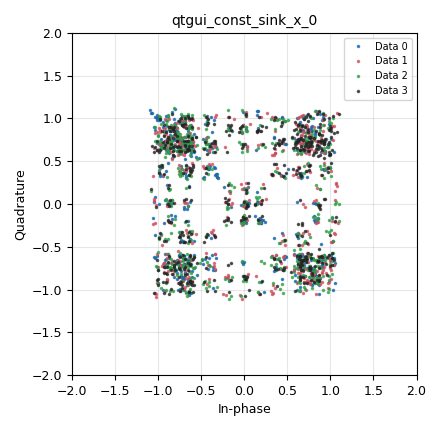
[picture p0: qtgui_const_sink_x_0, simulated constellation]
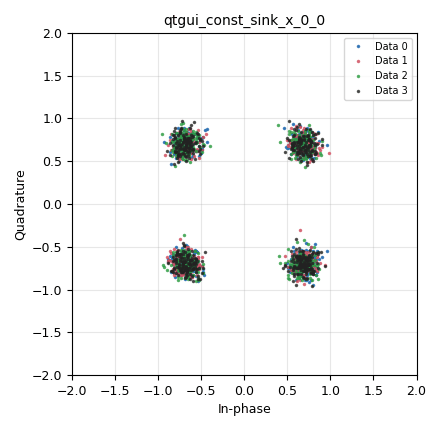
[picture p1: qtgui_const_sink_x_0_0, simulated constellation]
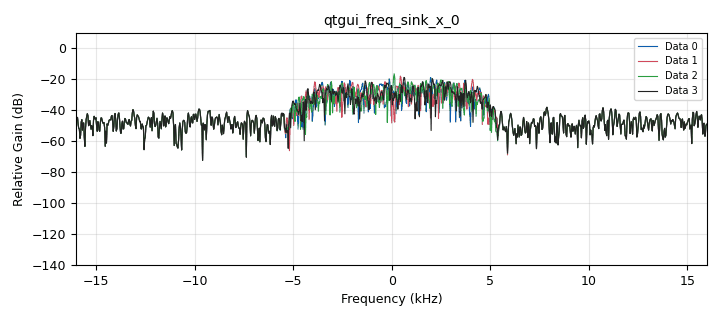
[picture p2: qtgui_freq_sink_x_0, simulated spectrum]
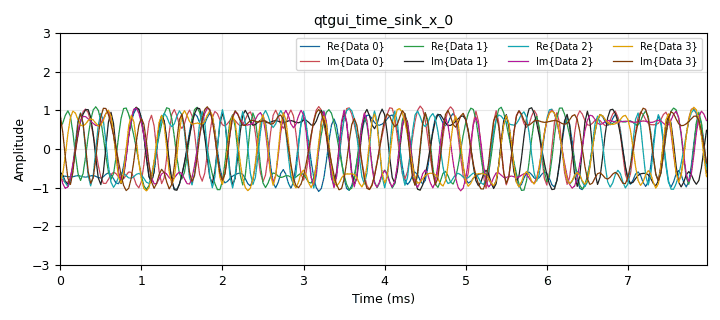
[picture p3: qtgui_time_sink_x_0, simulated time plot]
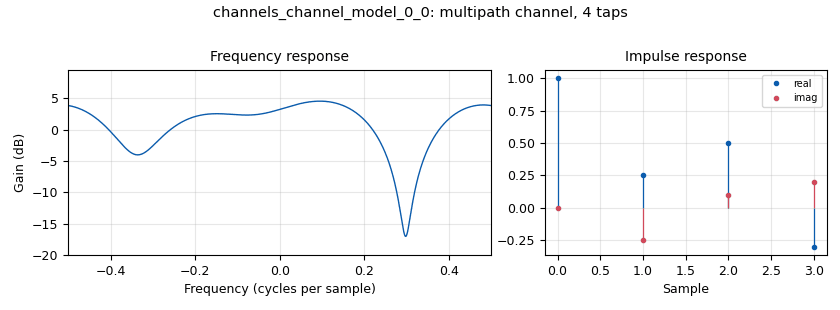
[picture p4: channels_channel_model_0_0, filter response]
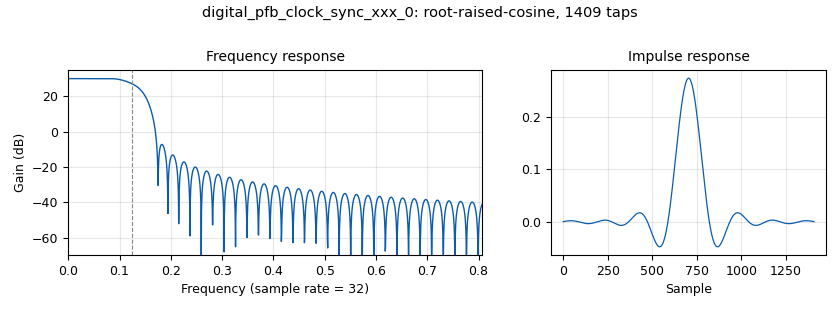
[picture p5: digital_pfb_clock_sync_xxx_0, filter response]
<?xml version='1.0' encoding='utf-8'?>
<?grc format='1' created='3.7.10'?>
<flow_graph>
<block>
<key>options</key>
<param><key>id</key><value>Multi_PSK</value></param>
<param><key>generate_options</key><value>qt_gui</value></param>
<param><key>title</key><value>Multi PSK</value></param>
</block>
<block>
<key>variable_constellation</key>
<param><key>id</key><value>const</value></param>
<param><key>const_points</key><value>digital.psk_4()[0]</value></param>
<param><key>type</key><value>calcdist</value></param>
<param><key>dims</key><value>1</value></param>
<param><key>rot_sym</key><value>4</value></param>
<param><key>precision</key><value>8</value></param>
<param><key>sym_map</key><value>digital.psk_4()[1]</value></param>
</block>
<block>
<key>variable_qtgui_range</key>
<param><key>id</key><value>eq_gain</value></param>
<param><key>value</key><value>0.01</value></param>
<param><key>gui_hint</key><value>1,1,1,1</value></param>
<param><key>label</key><value>Equalizer: rate</value></param>
<param><key>orient</key><value>Qt.Horizontal</value></param>
<param><key>start</key><value>0.0</value></param>
<param><key>step</key><value>0.001</value></param>
<param><key>stop</key><value>0.1</value></param>
<param><key>widget</key><value>slider</value></param>
</block>
<block>
<key>variable_qtgui_range</key>
<param><key>id</key><value>freq_offset</value></param>
<param><key>value</key><value>0</value></param>
<param><key>gui_hint</key><value>1,0,1,1</value></param>
<param><key>label</key><value>Frequency Offset</value></param>
<param><key>orient</key><value>Qt.Horizontal</value></param>
<param><key>start</key><value>-0.1</value></param>
<param><key>step</key><value>0.001</value></param>
<param><key>stop</key><value>0.1</value></param>
</block>
<block>
<key>variable</key>
<param><key>id</key><value>nfilts</value></param>
<param><key>value</key><value>32</value></param>
</block>
<block>
<key>variable_qtgui_range</key>
<param><key>id</key><value>noise_volt</value></param>
<param><key>value</key><value>0.0001 + (0.3*1)</value></param>
<param><key>gui_hint</key><value>0,0,1,1</value></param>
<param><key>label</key><value>Noise Voltage</value></param>
<param><key>orient</key><value>Qt.Vertical</value></param>
<param><key>start</key><value>0</value></param>
<param><key>step</key><value>0.01</value></param>
<param><key>stop</key><value>1</value></param>
</block>
<block>
<key>variable</key>
<param><key>id</key><value>out_sps</value></param>
<param><key>value</key><value>2</value></param>
</block>
<block>
<key>variable_qtgui_range</key>
<param><key>id</key><value>phase_bw</value></param>
<param><key>value</key><value>6.28/100.0</value></param>
<param><key>gui_hint</key><value>2,1,1,1</value></param>
<param><key>label</key><value>Phase: Bandwidth</value></param>
<param><key>orient</key><value>Qt.Horizontal</value></param>
<param><key>start</key><value>0.0</value></param>
<param><key>step</key><value>0.01</value></param>
<param><key>stop</key><value>1.0</value></param>
<param><key>widget</key><value>slider</value></param>
</block>
<block>
<key>variable_rrc_filter_taps</key>
<param><key>id</key><value>rrc_taps</value></param>
<param><key>alpha</key><value>0.35</value></param>
<param><key>gain</key><value>nfilts*1.0</value></param>
<param><key>ntaps</key><value>11*sps*nfilts</value></param>
<param><key>samp_rate</key><value>nfilts*1.0</value></param>
<param><key>sym_rate</key><value>1.0/float(sps)</value></param>
</block>
<block>
<key>variable</key>
<param><key>id</key><value>samp_rate</value></param>
<param><key>value</key><value>32000</value></param>
</block>
<block>
<key>variable</key>
<param><key>id</key><value>sps</value></param>
<param><key>value</key><value>4</value></param>
</block>
<block>
<key>variable</key>
<param><key>id</key><value>taps</value></param>
<param><key>value</key><value>[1.0, 0.25-0.25j, 0.50 + 0.10j, -0.3 + 0.2j]</value></param>
</block>
<block>
<key>variable_qtgui_range</key>
<param><key>id</key><value>time_offset</value></param>
<param><key>value</key><value>1.00</value></param>
<param><key>gui_hint</key><value>2,0,1,1</value></param>
<param><key>label</key><value>Timing Offset</value></param>
<param><key>orient</key><value>Qt.Horizontal</value></param>
<param><key>start</key><value>0.999</value></param>
<param><key>step</key><value>0.0001</value></param>
<param><key>stop</key><value>1.001</value></param>
</block>
<block>
<key>variable_qtgui_range</key>
<param><key>id</key><value>timing_loop_bw</value></param>
<param><key>value</key><value>6.28/100.0</value></param>
<param><key>gui_hint</key><value>0,1,1,1</value></param>
<param><key>label</key><value>Time: BW</value></param>
<param><key>orient</key><value>Qt.Horizontal</value></param>
<param><key>start</key><value>0.0</value></param>
<param><key>step</key><value>0.01</value></param>
<param><key>stop</key><value>0.2</value></param>
<param><key>widget</key><value>slider</value></param>
</block>
<block>
<key>analog_random_source_x</key>
<param><key>id</key><value>analog_random_source_x_0</value></param>
<param><key>max</key><value>256</value></param>
<param><key>min</key><value>0</value></param>
<param><key>num_samps</key><value>10000</value></param>
<param><key>type</key><value>byte</value></param>
<param><key>repeat</key><value>True</value></param>
</block>
<block>
<key>blocks_stream_to_streams</key>
<param><key>id</key><value>blocks_stream_to_streams_0</value></param>
<param><key>type</key><value>byte</value></param>
<param><key>num_streams</key><value>4</value></param>
</block>
<block>
<key>blocks_throttle</key>
<param><key>id</key><value>blocks_throttle_0</value></param>
<param><key>samples_per_second</key><value>samp_rate</value></param>
<param><key>type</key><value>complex</value></param>
</block>
<block>
<key>channels_channel_model</key>
<param><key>id</key><value>channels_channel_model_0_0</value></param>
<param><key>epsilon</key><value>time_offset</value></param>
<param><key>freq_offset</key><value>freq_offset</value></param>
<param><key>noise_voltage</key><value>noise_volt</value></param>
<param><key>seed</key><value>0</value></param>
<param><key>taps</key><value>taps</value></param>
</block>
<block>
<key>channels_channel_model</key>
<param><key>id</key><value>channels_channel_model_1</value></param>
<param><key>epsilon</key><value>time_offset</value></param>
<param><key>freq_offset</key><value>freq_offset</value></param>
<param><key>noise_voltage</key><value>noise_volt</value></param>
<param><key>seed</key><value>0</value></param>
<param><key>taps</key><value>taps</value></param>
</block>
<block>
<key>channels_channel_model</key>
<param><key>id</key><value>channels_channel_model_2</value></param>
<param><key>epsilon</key><value>time_offset</value></param>
<param><key>freq_offset</key><value>freq_offset</value></param>
<param><key>noise_voltage</key><value>noise_volt</value></param>
<param><key>seed</key><value>0</value></param>
<param><key>taps</key><value>taps</value></param>
</block>
<block>
<key>channels_channel_model</key>
<param><key>id</key><value>channels_channel_model_3</value></param>
<param><key>epsilon</key><value>time_offset</value></param>
<param><key>freq_offset</key><value>freq_offset</value></param>
<param><key>noise_voltage</key><value>noise_volt</value></param>
<param><key>seed</key><value>0</value></param>
<param><key>taps</key><value>taps</value></param>
</block>
<block>
<key>digital_cma_equalizer_cc</key>
<param><key>id</key><value>digital_cma_equalizer_cc_0</value></param>
<param><key>mu</key><value>eq_gain</value></param>
<param><key>modulus</key><value>1</value></param>
<param><key>num_taps</key><value>15</value></param>
<param><key>sps</key><value>out_sps</value></param>
</block>
<block>
<key>digital_cma_equalizer_cc</key>
<param><key>id</key><value>digital_cma_equalizer_cc_0_0</value></param>
<param><key>mu</key><value>eq_gain</value></param>
<param><key>modulus</key><value>1</value></param>
<param><key>num_taps</key><value>15</value></param>
<param><key>sps</key><value>out_sps</value></param>
</block>
<block>
<key>digital_cma_equalizer_cc</key>
<param><key>id</key><value>digital_cma_equalizer_cc_0_0_0</value></param>
<param><key>mu</key><value>eq_gain</value></param>
<param><key>modulus</key><value>1</value></param>
<param><key>num_taps</key><value>15</value></param>
<param><key>sps</key><value>out_sps</value></param>
</block>
<block>
<key>digital_cma_equalizer_cc</key>
<param><key>id</key><value>digital_cma_equalizer_cc_0_0_0_0</value></param>
<param><key>mu</key><value>eq_gain</value></param>
<param><key>modulus</key><value>1</value></param>
<param><key>num_taps</key><value>15</value></param>
<param><key>sps</key><value>out_sps</value></param>
</block>
<block>
<key>digital_constellation_modulator</key>
<param><key>id</key><value>digital_constellation_modulator_0</value></param>
<param><key>constellation</key><value>const</value></param>
<param><key>differential</key><value>True</value></param>
<param><key>excess_bw</key><value>0.35</value></param>
<param><key>samples_per_symbol</key><value>sps</value></param>
</block>
<block>
<key>digital_constellation_modulator</key>
<param><key>id</key><value>digital_constellation_modulator_1</value></param>
<param><key>constellation</key><value>const</value></param>
<param><key>differential</key><value>True</value></param>
<param><key>excess_bw</key><value>0.35</value></param>
<param><key>samples_per_symbol</key><value>sps</value></param>
</block>
<block>
<key>digital_constellation_modulator</key>
<param><key>id</key><value>digital_constellation_modulator_2</value></param>
<param><key>constellation</key><value>const</value></param>
<param><key>differential</key><value>True</value></param>
<param><key>excess_bw</key><value>0.35</value></param>
<param><key>samples_per_symbol</key><value>sps</value></param>
</block>
<block>
<key>digital_constellation_modulator</key>
<param><key>id</key><value>digital_constellation_modulator_3</value></param>
<param><key>constellation</key><value>const</value></param>
<param><key>differential</key><value>True</value></param>
<param><key>excess_bw</key><value>0.35</value></param>
<param><key>samples_per_symbol</key><value>sps</value></param>
</block>
<block>
<key>digital_costas_loop_cc</key>
<param><key>id</key><value>digital_costas_loop_cc_0</value></param>
<param><key>w</key><value>phase_bw</value></param>
<param><key>order</key><value>const.arity()</value></param>
</block>
<block>
<key>digital_costas_loop_cc</key>
<param><key>id</key><value>digital_costas_loop_cc_0_0</value></param>
<param><key>w</key><value>phase_bw</value></param>
<param><key>order</key><value>const.arity()</value></param>
</block>
<block>
<key>digital_costas_loop_cc</key>
<param><key>id</key><value>digital_costas_loop_cc_0_0_0</value></param>
<param><key>w</key><value>phase_bw</value></param>
<param><key>order</key><value>const.arity()</value></param>
</block>
<block>
<key>digital_costas_loop_cc</key>
<param><key>id</key><value>digital_costas_loop_cc_0_0_0_0</value></param>
<param><key>w</key><value>phase_bw</value></param>
<param><key>order</key><value>const.arity()</value></param>
</block>
<block>
<key>digital_pfb_clock_sync_xxx</key>
<param><key>id</key><value>digital_pfb_clock_sync_xxx_0</value></param>
<param><key>filter_size</key><value>nfilts</value></param>
<param><key>init_phase</key><value>nfilts/2.0</value></param>
<param><key>loop_bw</key><value>timing_loop_bw</value></param>
<param><key>max_dev</key><value>1.5</value></param>
<param><key>osps</key><value>out_sps</value></param>
<param><key>sps</key><value>sps</value></param>
<param><key>taps</key><value>rrc_taps</value></param>
<param><key>type</key><value>ccf</value></param>
</block>
<block>
<key>digital_pfb_clock_sync_xxx</key>
<param><key>id</key><value>digital_pfb_clock_sync_xxx_0_0</value></param>
<param><key>filter_size</key><value>nfilts</value></param>
<param><key>init_phase</key><value>nfilts/2.0</value></param>
<param><key>loop_bw</key><value>timing_loop_bw</value></param>
<param><key>max_dev</key><value>1.5</value></param>
<param><key>osps</key><value>out_sps</value></param>
<param><key>sps</key><value>sps</value></param>
<param><key>taps</key><value>rrc_taps</value></param>
<param><key>type</key><value>ccf</value></param>
</block>
<block>
<key>digital_pfb_clock_sync_xxx</key>
<param><key>id</key><value>digital_pfb_clock_sync_xxx_0_0_0</value></param>
<param><key>filter_size</key><value>nfilts</value></param>
<param><key>init_phase</key><value>nfilts/2.0</value></param>
<param><key>loop_bw</key><value>timing_loop_bw</value></param>
<param><key>max_dev</key><value>1.5</value></param>
<param><key>osps</key><value>out_sps</value></param>
<param><key>sps</key><value>sps</value></param>
<param><key>taps</key><value>rrc_taps</value></param>
<param><key>type</key><value>ccf</value></param>
</block>
<block>
<key>digital_pfb_clock_sync_xxx</key>
<param><key>id</key><value>digital_pfb_clock_sync_xxx_0_0_0_0</value></param>
<param><key>filter_size</key><value>nfilts</value></param>
<param><key>init_phase</key><value>nfilts/2.0</value></param>
<param><key>loop_bw</key><value>timing_loop_bw</value></param>
<param><key>max_dev</key><value>1.5</value></param>
<param><key>osps</key><value>out_sps</value></param>
<param><key>sps</key><value>sps</value></param>
<param><key>taps</key><value>rrc_taps</value></param>
<param><key>type</key><value>ccf</value></param>
</block>
<block>
<key>qtgui_const_sink_x</key>
<param><key>id</key><value>qtgui_const_sink_x_0</value></param>
<param><key>gui_hint</key><value>4,0,1,1</value></param>
<param><key>color4</key><value>"magenta"</value></param>
<param><key>nconnections</key><value>4</value></param>
<param><key>size</key><value>512</value></param>
<param><key>type</key><value>complex</value></param>
</block>
<block>
<key>qtgui_const_sink_x</key>
<param><key>id</key><value>qtgui_const_sink_x_0_0</value></param>
<param><key>gui_hint</key><value>4,1,1,1</value></param>
<param><key>color4</key><value>"magenta"</value></param>
<param><key>nconnections</key><value>4</value></param>
<param><key>size</key><value>512</value></param>
<param><key>type</key><value>complex</value></param>
</block>
<block>
<key>qtgui_freq_sink_x</key>
<param><key>id</key><value>qtgui_freq_sink_x_0</value></param>
<param><key>bw</key><value>samp_rate</value></param>
<param><key>fc</key><value>0</value></param>
<param><key>fftsize</key><value>1024</value></param>
<param><key>gui_hint</key><value>3,1,1,1</value></param>
<param><key>label2</key><value></value></param>
<param><key>label3</key><value></value></param>
<param><key>label4</key><value></value></param>
<param><key>nconnections</key><value>4</value></param>
<param><key>showports</key><value>True</value></param>
<param><key>type</key><value>complex</value></param>
<param><key>wintype</key><value>firdes.WIN_BLACKMAN_hARRIS</value></param>
</block>
<block>
<key>qtgui_time_sink_x</key>
<param><key>id</key><value>qtgui_time_sink_x_0</value></param>
<param><key>gui_hint</key><value>3,0,1,1</value></param>
<param><key>color1</key><value>"blue"</value></param>
<param><key>label1</key><value></value></param>
<param><key>color2</key><value>"red"</value></param>
<param><key>label2</key><value></value></param>
<param><key>color3</key><value>"green"</value></param>
<param><key>label3</key><value></value></param>
<param><key>color4</key><value>"black"</value></param>
<param><key>label4</key><value></value></param>
<param><key>color5</key><value>"cyan"</value></param>
<param><key>label5</key><value></value></param>
<param><key>color6</key><value>"magenta"</value></param>
<param><key>label6</key><value></value></param>
<param><key>color7</key><value>"yellow"</value></param>
<param><key>label7</key><value></value></param>
<param><key>color8</key><value>"dark red"</value></param>
<param><key>label8</key><value></value></param>
<param><key>nconnections</key><value>4</value></param>
<param><key>size</key><value>256</value></param>
<param><key>srate</key><value>samp_rate</value></param>
<param><key>type</key><value>complex</value></param>
<param><key>ymax</key><value>3</value></param>
<param><key>ymin</key><value>-3</value></param>
</block>
<block>
<key>virtual_sink</key>
<param><key>id</key><value>virtual_sink_0</value></param>
<param><key>stream_id</key><value>psk1</value></param>
</block>
<block>
<key>virtual_sink</key>
<param><key>id</key><value>virtual_sink_0_0</value></param>
<param><key>stream_id</key><value>ch1</value></param>
</block>
<block>
<key>virtual_sink</key>
<param><key>id</key><value>virtual_sink_1</value></param>
<param><key>stream_id</key><value>psk2</value></param>
</block>
<block>
<key>virtual_sink</key>
<param><key>id</key><value>virtual_sink_1_0</value></param>
<param><key>stream_id</key><value>ch2</value></param>
</block>
<block>
<key>virtual_sink</key>
<param><key>id</key><value>virtual_sink_2</value></param>
<param><key>stream_id</key><value>psk3</value></param>
</block>
<block>
<key>virtual_sink</key>
<param><key>id</key><value>virtual_sink_2_0</value></param>
<param><key>stream_id</key><value>ch3</value></param>
</block>
<block>
<key>virtual_sink</key>
<param><key>id</key><value>virtual_sink_3</value></param>
<param><key>stream_id</key><value>psk4</value></param>
</block>
<block>
<key>virtual_sink</key>
<param><key>id</key><value>virtual_sink_3_0</value></param>
<param><key>stream_id</key><value>ch4</value></param>
</block>
<block>
<key>virtual_sink</key>
<param><key>id</key><value>virtual_sink_4</value></param>
<param><key>stream_id</key><value>symb1</value></param>
</block>
<block>
<key>virtual_sink</key>
<param><key>id</key><value>virtual_sink_4_0</value></param>
<param><key>stream_id</key><value>symb2</value></param>
</block>
<block>
<key>virtual_sink</key>
<param><key>id</key><value>virtual_sink_4_0_0</value></param>
<param><key>stream_id</key><value>symb3</value></param>
</block>
<block>
<key>virtual_sink</key>
<param><key>id</key><value>virtual_sink_4_0_0_0</value></param>
<param><key>stream_id</key><value>symb4</value></param>
</block>
<block>
<key>virtual_source</key>
<param><key>id</key><value>virtual_source_0</value></param>
<param><key>stream_id</key><value>psk1</value></param>
</block>
<block>
<key>virtual_source</key>
<param><key>id</key><value>virtual_source_0_0</value></param>
<param><key>stream_id</key><value>psk1</value></param>
</block>
<block>
<key>virtual_source</key>
<param><key>id</key><value>virtual_source_0_0_0</value></param>
<param><key>stream_id</key><value>symb1</value></param>
</block>
<block>
<key>virtual_source</key>
<param><key>id</key><value>virtual_source_0_1</value></param>
<param><key>stream_id</key><value>ch1</value></param>
</block>
<block>
<key>virtual_source</key>
<param><key>id</key><value>virtual_source_1</value></param>
<param><key>stream_id</key><value>psk2</value></param>
</block>
<block>
<key>virtual_source</key>
<param><key>id</key><value>virtual_source_1_0</value></param>
<param><key>stream_id</key><value>psk2</value></param>
</block>
<block>
<key>virtual_source</key>
<param><key>id</key><value>virtual_source_1_0_0</value></param>
<param><key>stream_id</key><value>symb2</value></param>
</block>
<block>
<key>virtual_source</key>
<param><key>id</key><value>virtual_source_1_1</value></param>
<param><key>stream_id</key><value>ch2</value></param>
</block>
<block>
<key>virtual_source</key>
<param><key>id</key><value>virtual_source_2</value></param>
<param><key>stream_id</key><value>psk3</value></param>
</block>
<block>
<key>virtual_source</key>
<param><key>id</key><value>virtual_source_2_0</value></param>
<param><key>stream_id</key><value>psk3</value></param>
</block>
<block>
<key>virtual_source</key>
<param><key>id</key><value>virtual_source_2_0_0</value></param>
<param><key>stream_id</key><value>symb3</value></param>
</block>
<block>
<key>virtual_source</key>
<param><key>id</key><value>virtual_source_2_1</value></param>
<param><key>stream_id</key><value>ch3</value></param>
</block>
<block>
<key>virtual_source</key>
<param><key>id</key><value>virtual_source_3</value></param>
<param><key>stream_id</key><value>psk4</value></param>
</block>
<block>
<key>virtual_source</key>
<param><key>id</key><value>virtual_source_3_0</value></param>
<param><key>stream_id</key><value>psk4</value></param>
</block>
<block>
<key>virtual_source</key>
<param><key>id</key><value>virtual_source_3_0_0</value></param>
<param><key>stream_id</key><value>symb4</value></param>
</block>
<block>
<key>virtual_source</key>
<param><key>id</key><value>virtual_source_3_1</value></param>
<param><key>stream_id</key><value>ch4</value></param>
</block>
<block>
<key>virtual_source</key>
<param><key>id</key><value>virtual_source_4</value></param>
<param><key>stream_id</key><value>ch1</value></param>
</block>
<block>
<key>virtual_source</key>
<param><key>id</key><value>virtual_source_5</value></param>
<param><key>stream_id</key><value>ch2</value></param>
</block>
<block>
<key>virtual_source</key>
<param><key>id</key><value>virtual_source_6</value></param>
<param><key>stream_id</key><value>ch3</value></param>
</block>
<block>
<key>virtual_source</key>
<param><key>id</key><value>virtual_source_7</value></param>
<param><key>stream_id</key><value>ch4</value></param>
</block>
<connection><source_block_id>analog_random_source_x_0</source_block_id><sink_block_id>blocks_stream_to_streams_0</sink_block_id><source_key>0</source_key><sink_key>0</sink_key></connection>
<connection><source_block_id>blocks_stream_to_streams_0</source_block_id><sink_block_id>digital_constellation_modulator_0</sink_block_id><source_key>0</source_key><sink_key>0</sink_key></connection>
<connection><source_block_id>blocks_stream_to_streams_0</source_block_id><sink_block_id>digital_constellation_modulator_1</sink_block_id><source_key>1</source_key><sink_key>0</sink_key></connection>
<connection><source_block_id>blocks_stream_to_streams_0</source_block_id><sink_block_id>digital_constellation_modulator_2</sink_block_id><source_key>2</source_key><sink_key>0</sink_key></connection>
<connection><source_block_id>blocks_stream_to_streams_0</source_block_id><sink_block_id>digital_constellation_modulator_3</sink_block_id><source_key>3</source_key><sink_key>0</sink_key></connection>
<connection><source_block_id>blocks_throttle_0</source_block_id><sink_block_id>channels_channel_model_0_0</sink_block_id><source_key>0</source_key><sink_key>0</sink_key></connection>
<connection><source_block_id>blocks_throttle_0</source_block_id><sink_block_id>virtual_sink_0</sink_block_id><source_key>0</source_key><sink_key>0</sink_key></connection>
<connection><source_block_id>channels_channel_model_0_0</source_block_id><sink_block_id>virtual_sink_0_0</sink_block_id><source_key>0</source_key><sink_key>0</sink_key></connection>
<connection><source_block_id>channels_channel_model_1</source_block_id><sink_block_id>virtual_sink_1_0</sink_block_id><source_key>0</source_key><sink_key>0</sink_key></connection>
<connection><source_block_id>channels_channel_model_2</source_block_id><sink_block_id>virtual_sink_2_0</sink_block_id><source_key>0</source_key><sink_key>0</sink_key></connection>
<connection><source_block_id>channels_channel_model_3</source_block_id><sink_block_id>virtual_sink_3_0</sink_block_id><source_key>0</source_key><sink_key>0</sink_key></connection>
<connection><source_block_id>digital_cma_equalizer_cc_0</source_block_id><sink_block_id>digital_costas_loop_cc_0</sink_block_id><source_key>0</source_key><sink_key>0</sink_key></connection>
<connection><source_block_id>digital_cma_equalizer_cc_0_0</source_block_id><sink_block_id>digital_costas_loop_cc_0_0</sink_block_id><source_key>0</source_key><sink_key>0</sink_key></connection>
<connection><source_block_id>digital_cma_equalizer_cc_0_0_0</source_block_id><sink_block_id>digital_costas_loop_cc_0_0_0</sink_block_id><source_key>0</source_key><sink_key>0</sink_key></connection>
<connection><source_block_id>digital_cma_equalizer_cc_0_0_0_0</source_block_id><sink_block_id>digital_costas_loop_cc_0_0_0_0</sink_block_id><source_key>0</source_key><sink_key>0</sink_key></connection>
<connection><source_block_id>digital_constellation_modulator_0</source_block_id><sink_block_id>blocks_throttle_0</sink_block_id><source_key>0</source_key><sink_key>0</sink_key></connection>
<connection><source_block_id>digital_constellation_modulator_1</source_block_id><sink_block_id>channels_channel_model_1</sink_block_id><source_key>0</source_key><sink_key>0</sink_key></connection>
<connection><source_block_id>digital_constellation_modulator_1</source_block_id><sink_block_id>virtual_sink_1</sink_block_id><source_key>0</source_key><sink_key>0</sink_key></connection>
<connection><source_block_id>digital_constellation_modulator_2</source_block_id><sink_block_id>channels_channel_model_2</sink_block_id><source_key>0</source_key><sink_key>0</sink_key></connection>
<connection><source_block_id>digital_constellation_modulator_2</source_block_id><sink_block_id>virtual_sink_2</sink_block_id><source_key>0</source_key><sink_key>0</sink_key></connection>
<connection><source_block_id>digital_constellation_modulator_3</source_block_id><sink_block_id>channels_channel_model_3</sink_block_id><source_key>0</source_key><sink_key>0</sink_key></connection>
<connection><source_block_id>digital_constellation_modulator_3</source_block_id><sink_block_id>virtual_sink_3</sink_block_id><source_key>0</source_key><sink_key>0</sink_key></connection>
<connection><source_block_id>digital_costas_loop_cc_0</source_block_id><sink_block_id>virtual_sink_4</sink_block_id><source_key>0</source_key><sink_key>0</sink_key></connection>
<connection><source_block_id>digital_costas_loop_cc_0_0</source_block_id><sink_block_id>virtual_sink_4_0</sink_block_id><source_key>0</source_key><sink_key>0</sink_key></connection>
<connection><source_block_id>digital_costas_loop_cc_0_0_0</source_block_id><sink_block_id>virtual_sink_4_0_0</sink_block_id><source_key>0</source_key><sink_key>0</sink_key></connection>
<connection><source_block_id>digital_costas_loop_cc_0_0_0_0</source_block_id><sink_block_id>virtual_sink_4_0_0_0</sink_block_id><source_key>0</source_key><sink_key>0</sink_key></connection>
<connection><source_block_id>digital_pfb_clock_sync_xxx_0</source_block_id><sink_block_id>digital_cma_equalizer_cc_0</sink_block_id><source_key>0</source_key><sink_key>0</sink_key></connection>
<connection><source_block_id>digital_pfb_clock_sync_xxx_0_0</source_block_id><sink_block_id>digital_cma_equalizer_cc_0_0</sink_block_id><source_key>0</source_key><sink_key>0</sink_key></connection>
<connection><source_block_id>digital_pfb_clock_sync_xxx_0_0_0</source_block_id><sink_block_id>digital_cma_equalizer_cc_0_0_0</sink_block_id><source_key>0</source_key><sink_key>0</sink_key></connection>
<connection><source_block_id>digital_pfb_clock_sync_xxx_0_0_0_0</source_block_id><sink_block_id>digital_cma_equalizer_cc_0_0_0_0</sink_block_id><source_key>0</source_key><sink_key>0</sink_key></connection>
<connection><source_block_id>virtual_source_0</source_block_id><sink_block_id>qtgui_time_sink_x_0</sink_block_id><source_key>0</source_key><sink_key>0</sink_key></connection>
<connection><source_block_id>virtual_source_0_0</source_block_id><sink_block_id>qtgui_const_sink_x_0</sink_block_id><source_key>0</source_key><sink_key>0</sink_key></connection>
<connection><source_block_id>virtual_source_0_0_0</source_block_id><sink_block_id>qtgui_const_sink_x_0_0</sink_block_id><source_key>0</source_key><sink_key>0</sink_key></connection>
<connection><source_block_id>virtual_source_0_1</source_block_id><sink_block_id>qtgui_freq_sink_x_0</sink_block_id><source_key>0</source_key><sink_key>0</sink_key></connection>
<connection><source_block_id>virtual_source_1</source_block_id><sink_block_id>qtgui_time_sink_x_0</sink_block_id><source_key>0</source_key><sink_key>1</sink_key></connection>
<connection><source_block_id>virtual_source_1_0</source_block_id><sink_block_id>qtgui_const_sink_x_0</sink_block_id><source_key>0</source_key><sink_key>1</sink_key></connection>
<connection><source_block_id>virtual_source_1_0_0</source_block_id><sink_block_id>qtgui_const_sink_x_0_0</sink_block_id><source_key>0</source_key><sink_key>1</sink_key></connection>
<connection><source_block_id>virtual_source_1_1</source_block_id><sink_block_id>qtgui_freq_sink_x_0</sink_block_id><source_key>0</source_key><sink_key>1</sink_key></connection>
<connection><source_block_id>virtual_source_2</source_block_id><sink_block_id>qtgui_time_sink_x_0</sink_block_id><source_key>0</source_key><sink_key>2</sink_key></connection>
<connection><source_block_id>virtual_source_2_0</source_block_id><sink_block_id>qtgui_const_sink_x_0</sink_block_id><source_key>0</source_key><sink_key>2</sink_key></connection>
<connection><source_block_id>virtual_source_2_0_0</source_block_id><sink_block_id>qtgui_const_sink_x_0_0</sink_block_id><source_key>0</source_key><sink_key>2</sink_key></connection>
<connection><source_block_id>virtual_source_2_1</source_block_id><sink_block_id>qtgui_freq_sink_x_0</sink_block_id><source_key>0</source_key><sink_key>2</sink_key></connection>
<connection><source_block_id>virtual_source_3</source_block_id><sink_block_id>qtgui_time_sink_x_0</sink_block_id><source_key>0</source_key><sink_key>3</sink_key></connection>
<connection><source_block_id>virtual_source_3_0</source_block_id><sink_block_id>qtgui_const_sink_x_0</sink_block_id><source_key>0</source_key><sink_key>3</sink_key></connection>
<connection><source_block_id>virtual_source_3_0_0</source_block_id><sink_block_id>qtgui_const_sink_x_0_0</sink_block_id><source_key>0</source_key><sink_key>3</sink_key></connection>
<connection><source_block_id>virtual_source_3_1</source_block_id><sink_block_id>qtgui_freq_sink_x_0</sink_block_id><source_key>0</source_key><sink_key>3</sink_key></connection>
<connection><source_block_id>virtual_source_4</source_block_id><sink_block_id>digital_pfb_clock_sync_xxx_0</sink_block_id><source_key>0</source_key><sink_key>0</sink_key></connection>
<connection><source_block_id>virtual_source_5</source_block_id><sink_block_id>digital_pfb_clock_sync_xxx_0_0</sink_block_id><source_key>0</source_key><sink_key>0</sink_key></connection>
<connection><source_block_id>virtual_source_6</source_block_id><sink_block_id>digital_pfb_clock_sync_xxx_0_0_0</sink_block_id><source_key>0</source_key><sink_key>0</sink_key></connection>
<connection><source_block_id>virtual_source_7</source_block_id><sink_block_id>digital_pfb_clock_sync_xxx_0_0_0_0</sink_block_id><source_key>0</source_key><sink_key>0</sink_key></connection>
</flow_graph>
